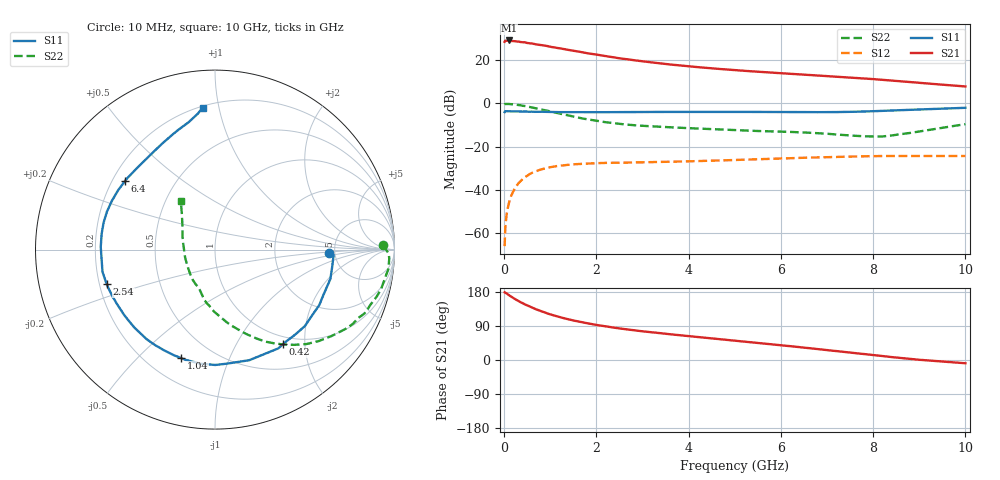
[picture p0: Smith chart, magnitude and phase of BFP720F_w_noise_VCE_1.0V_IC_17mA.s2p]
! Infineon Technologies  Discrete & RF Semiconductors
! BFP720F
! VCE =  1.0 V,  IC =  17 mA
! Common Emitter S-Parameters:  Jan 2016
# GHz  S  MA  R  50
!  f  S11  S21  S12  S22
! GHz  MAG  ANG  MAG  ANG  MAG  ANG  MAG  ANG
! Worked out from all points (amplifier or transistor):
!   233 points, 10 MHz to 10 GHz, reference 50 ohm
!   highest |S21| = 29.1 dB at 100 MHz (marker M1)
!   |S21| within 3 dB of that: start of sweep to 1.022 GHz
!   unconditionally stable (mu >= 1): start of sweep to 17.74 MHz; 5.313 GHz to end of sweep
!   at 200 MHz: K = 0.11, MSG = 34.7 dB, |S12| = -40.5 dB
!   at 1.74 GHz: K = 0.44, MSG = 25.7 dB, |S12| = -27.9 dB
!   at 10 GHz: K = 1.35, MAG = 12.5 dB, |S12| = -24.3 dB
!   lowest NFmin = 0.77 dB at 450 MHz
!   S11 on the Smith chart (normalised r, x): 10 MHz: 4.43, -0.28; 420 MHz: 0.87, -1.59; 1.04 GHz: 0.34, -0.68; 2.54 GHz: 0.23, -0.15; 6.4 GHz: 0.25, +0.32; 10 GHz: 0.21, +0.89
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0.01  0.6332 -1.7  26.54 178.7  0.0005 15.2  0.9367 1.5
0.02  0.6615 -2.6  28.13 177.7  0.0011 83.2  0.9684 -1.4
0.05  0.6601 -7.0  28.3 176.1  0.0025 81.2  0.9722 -3.0
0.1  0.6633 -14.2  28.58 171.4  0.0048 82.1  0.9719 -6.5
0.2  0.6581 -27.9  27.7 163.2  0.0094 77.3  0.9515 -13.3
0.3  0.6574 -40.4  27.13 156.1  0.0138 71.8  0.918 -19.7
0.42  0.6493 -54.4  25.9 148.6  0.0185 66.0  0.8788 -26.7
0.45  0.6538 -57.3  25.87 146.6  0.0195 64.9  0.8727 -28.3
0.6  0.6451 -72.8  24.4 138.6  0.0247 58.0  0.8075 -36.7
0.7  0.6389 -82.4  23.09 133.4  0.0274 54.0  0.7698 -41.5
0.8  0.6429 -89.9  22.5 128.8  0.0297 50.5  0.7327 -45.9
1.04  0.633 -107.5  20.07 118.9  0.0342 42.8  0.6377 -55.6
1.36  0.6274 -125.4  17.56 108.3  0.0379 35.2  0.5346 -66.1
1.68  0.6233 -139.3  15.32 99.7  0.0402 29.7  0.4525 -75.2
2.02  0.6244 -150.2  13.35 92.2  0.0416 25.7  0.3924 -83.1
2.54  0.6331 -162.2  10.92 82.7  0.0426 21.7  0.3337 -92.7
3.4  0.6347 -178.8  8.392 70.5  0.0444 18.9  0.2878 -101.7
5.1  0.637 159.4  5.785 50.0  0.0496 16.4  0.2398 -110.7
6.4  0.6304 142.7  4.703 34.0  0.055 13.1  0.2156 -122.6
6.8  0.6281 136.5  4.417 28.8  0.0565 11.7  0.2045 -128.9
8.4  0.6857 109.7  3.388 7.7  0.0609 4.4  0.1815 168.3
10  0.792 95.0  2.468 -8.6  0.0609 -0.3  0.3305 125.3
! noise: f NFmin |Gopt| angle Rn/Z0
0.45  0.77  0.21  1  0.52
0.9  0.79  0.11  0  0.14
1.8  0.82  0.08  -6  0.16
2.4  0.83  0.08  -13  0.14
5.5  0.98  0.08  -18  0.1
10  1.15  0.35  -83  0.22
